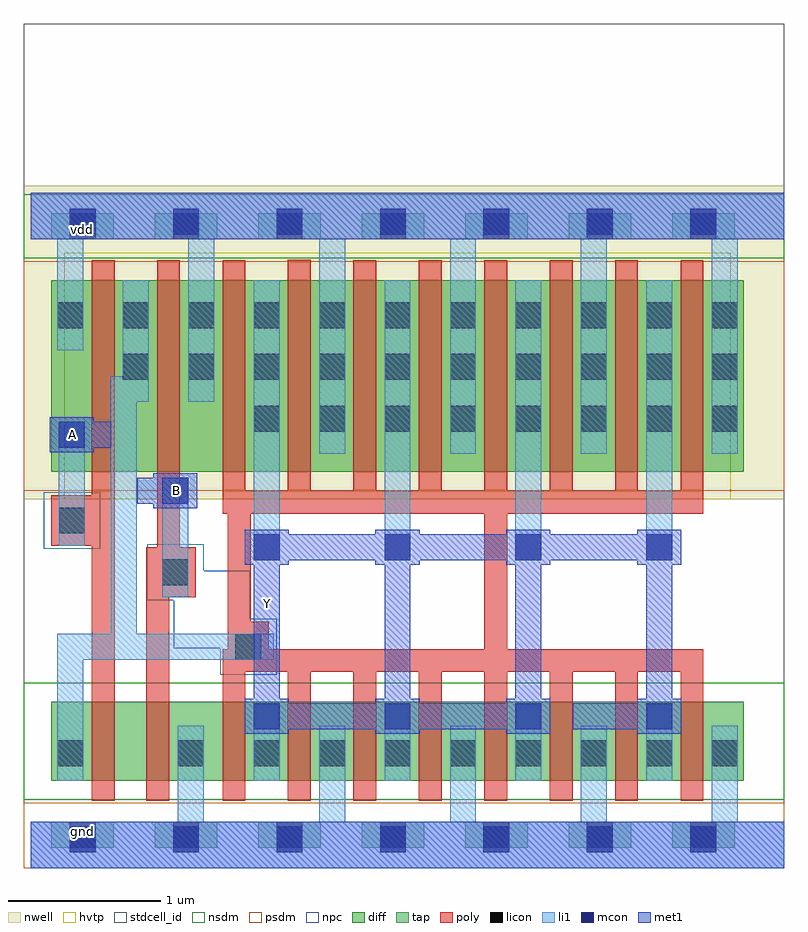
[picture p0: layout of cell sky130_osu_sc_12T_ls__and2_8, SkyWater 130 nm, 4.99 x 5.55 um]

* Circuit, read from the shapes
.subckt sky130_osu_sc_12T_ls__and2_8 A B Y gnd vdd
XM1 n1 A n2 gnd sky130_fd_pr__nfet_01v8 w=0.52 l=0.15
XM2 gnd B n1 gnd sky130_fd_pr__nfet_01v8 w=0.52 l=0.15
XM3 Y n2 gnd gnd sky130_fd_pr__nfet_01v8 w=0.52 l=0.15 m=8
XM4 n2 A vdd vdd sky130_fd_pr__pfet_01v8_hvt w=1.26 l=0.15
XM5 vdd B n2 vdd sky130_fd_pr__pfet_01v8_hvt w=1.26 l=0.15
XM6 Y n2 vdd vdd sky130_fd_pr__pfet_01v8_hvt w=1.26 l=0.15 m=8
.ends

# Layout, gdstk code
import gdstk
lib = gdstk.Library(unit=1e-6, precision=1e-09)
def R(c, l, rs):  # rectangles x0, y0, x1, y1
    for r in rs: c.add(gdstk.rectangle(r[:2], r[2:], *l))
def A(c, l, x, y, w, h, nx, ny, dx, dy):  # array of equal rectangles
    R(c, l, [(x+i*dx, y+j*dy, x+i*dx+w, y+j*dy+h) for i in range(nx) for j in range(ny)])
nwell = (64, 20)
diff = (65, 20)
tap = (65, 44)
poly = (66, 20)
licon = (66, 44)
li1 = (67, 20)
mcon = (67, 44)
met1 = (68, 20)
hvtp = (78, 44)
stdcell_id = (81, 4)
nsdm = (93, 44)
psdm = (94, 20)
npc = (95, 20)

sky130_osu_sc_12t_ls__an = lib.new_cell('sky130_osu_sc_12T_ls__and2_8')
R(sky130_osu_sc_12t_ls__an, nwell, [(-0.045,2.425,4.95,4.485)])
R(sky130_osu_sc_12t_ls__an, diff, [(0.135,0.575,4.685,1.095), (0.135,2.605,4.685,3.865)])
A(sky130_osu_sc_12t_ls__an, tap, 0.135, 0.135, 0.41, 0.17, 7, 2, 0.68, 4)
A(sky130_osu_sc_12t_ls__an, poly, 1.26, 0.445, 0.15, 0.845, 8, 1, 0.43, 0)
A(sky130_osu_sc_12t_ls__an, poly, 2.12, 2.48, 0.15, 1.515, 6, 1, 0.43, 0)
R(sky130_osu_sc_12t_ls__an, poly, [(0.4,0.445,0.55,2.12), (0.76,0.445,0.91,1.78), (1.26,1.29,4.42,1.44), (1.295,1.44,1.565,1.62), (2.98,1.44,3.13,2.33), (1.295,1.62,1.445,2.33), (0.76,1.78,1.085,2.11), (0.83,2.11,0.98,3.995), (0.135,2.12,0.55,2.45), (1.26,2.33,4.42,2.48), (0.4,2.45,0.55,3.995), (1.26,2.48,1.41,3.995), (1.69,2.48,1.84,4)])
A(sky130_osu_sc_12t_ls__an, licon, 0.255, 0.135, 0.17, 0.17, 7, 2, 0.68, 4)
A(sky130_osu_sc_12t_ls__an, licon, 1.465, 0.67, 0.17, 0.17, 8, 2, 0.43, 2.2)
A(sky130_osu_sc_12t_ls__an, licon, 0.605, 3.21, 0.17, 0.17, 10, 1, 0.43, 0)
A(sky130_osu_sc_12t_ls__an, licon, 0.175, 3.55, 0.17, 0.17, 11, 1, 0.43, 0)
R(sky130_osu_sc_12t_ls__an, licon, [(0.175,0.67,0.345,0.84), (0.965,0.67,1.135,0.84), (1.345,1.37,1.515,1.54), (0.865,1.86,1.035,2.03), (0.185,2.2,0.355,2.37)])
A(sky130_osu_sc_12t_ls__an, li1, 1.895, 0.305, 0.17, 0.63, 4, 1, 0.86, 0)
A(sky130_osu_sc_12t_ls__an, li1, 1.465, 0.575, 0.17, 0.51, 4, 1, 0.86, 0)
A(sky130_osu_sc_12t_ls__an, li1, 1.465, 2.025, 0.17, 1.84, 4, 1, 0.86, 0)
A(sky130_osu_sc_12t_ls__an, li1, 1.895, 2.725, 0.17, 1.41, 4, 1, 0.86, 0)
R(sky130_osu_sc_12t_ls__an, li1, [(0,0,4.95,0.305), (0.965,0.305,1.135,0.935), (0.175,0.575,0.345,1.37), (0.175,1.37,1.595,1.54), (0.525,1.54,0.695,3.065), (0.865,1.78,1.035,2.565), (0.185,2.12,0.355,2.935), (0.525,3.065,0.775,3.235), (1.035,3.065,1.205,4.135), (0.605,3.235,0.775,3.865), (0.175,3.405,0.345,4.135), (0,4.135,4.95,4.44)])
A(sky130_osu_sc_12t_ls__an, mcon, 0.255, 0.105, 0.17, 0.17, 7, 2, 0.68, 4.06)
A(sky130_osu_sc_12t_ls__an, mcon, 1.465, 0.915, 0.17, 0.17, 4, 2, 0.86, 1.11)
R(sky130_osu_sc_12t_ls__an, mcon, [(0.865,2.395,1.035,2.565), (0.185,2.765,0.355,2.935)])
A(sky130_osu_sc_12t_ls__an, met1, 1.405, 0.885, 0.29, 0.03, 4, 2, 0.86, 0.2)
A(sky130_osu_sc_12t_ls__an, met1, 1.465, 1.115, 0.17, 0.88, 4, 1, 0.86, 0)
A(sky130_osu_sc_12t_ls__an, met1, 1.405, 1.995, 0.29, 0.03, 4, 2, 0.86, 0.2)
R(sky130_osu_sc_12t_ls__an, met1, [(0,0,4.95,0.305), (1.405,0.915,3.415,1.085), (3.56,0.915,4.275,1.085), (1.405,2.025,4.275,2.195), (0.805,2.365,1.095,2.395), (0.7,2.395,1.095,2.565), (0.805,2.565,1.095,2.595), (0.125,2.735,0.415,2.765), (0.125,2.765,0.525,2.935), (0.125,2.935,0.415,2.965), (0,4.135,4.95,4.44)])
R(sky130_osu_sc_12t_ls__an, hvtp, [(0.22,2.425,4.6,4.045)])
R(sky130_osu_sc_12t_ls__an, stdcell_id, [(-0.045,0,4.95,5.55)])
R(sky130_osu_sc_12t_ls__an, nsdm, [(-0.045,0.45,4.95,1.22), (-0.045,4.01,4.95,4.43)])
R(sky130_osu_sc_12t_ls__an, psdm, [(-0.045,0,4.95,0.43), (-0.045,2.48,4.95,3.99)])
R(sky130_osu_sc_12t_ls__an, npc, [(1.245,1.27,1.615,1.445), (0.94,1.445,1.615,1.64), (0.94,1.64,1.44,1.76), (0.765,1.76,1.44,1.955), (0.765,1.955,1.135,2.13), (0.085,2.1,0.455,2.47)])
sky130_osu_sc_12t_ls__an.add(gdstk.Label('gnd', (0.34,0.24), layer=68, texttype=16))
sky130_osu_sc_12t_ls__an.add(gdstk.Label('vdd', (0.34,4.2), layer=68, texttype=16))
sky130_osu_sc_12t_ls__an.add(gdstk.Label('B', (0.955,2.48), layer=68, texttype=5))
sky130_osu_sc_12t_ls__an.add(gdstk.Label('A', (0.275,2.85), layer=68, texttype=5))
sky130_osu_sc_12t_ls__an.add(gdstk.Label('Y', (1.555,1.74), layer=68, texttype=5))

lib.write_gds('sky130_osu_sc_12T_ls__and2_8.gds')
